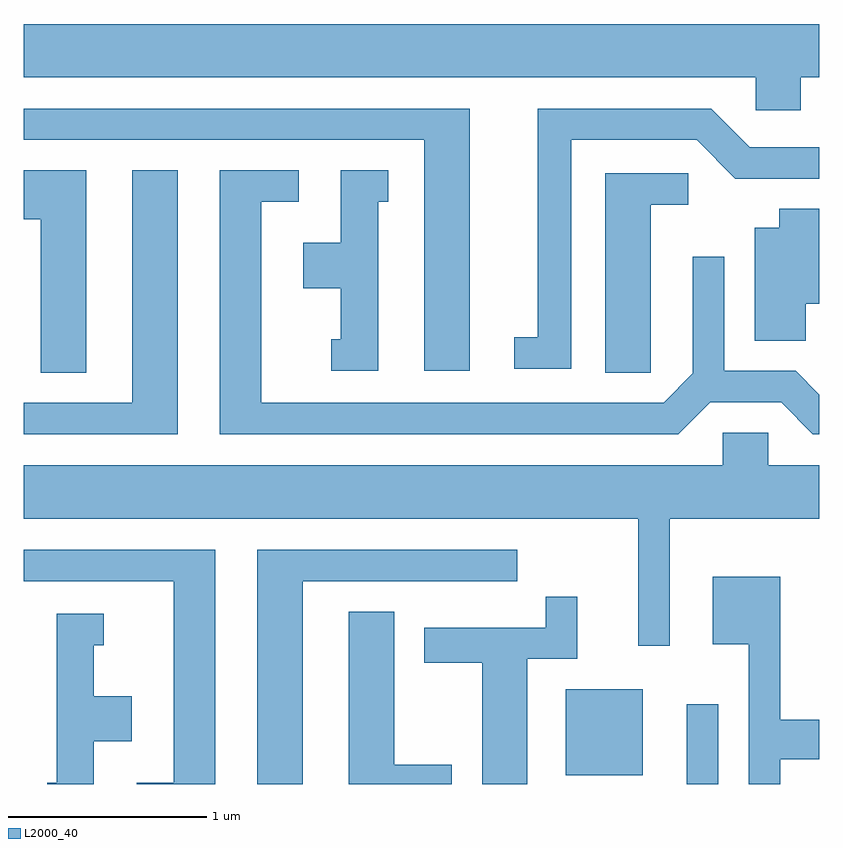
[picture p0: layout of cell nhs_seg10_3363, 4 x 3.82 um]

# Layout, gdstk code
import gdstk
lib = gdstk.Library(unit=1e-6, precision=1e-09)
def R(c, l, rs):  # rectangles x0, y0, x1, y1
    for r in rs: c.add(gdstk.rectangle(r[:2], r[2:], *l))
def P(c, l, *ps):  # polygons
    for p in ps: c.add(gdstk.Polygon(p, *l))
L2000_40 = (2000, 40)

nhs_seg10_3363 = lib.new_cell('nhs_seg10_3363')
R(nhs_seg10_3363, L2000_40, [(286.946,2172.522,287.104,2172.923), (286.336,2172.566,286.724,2172.999)])
P(nhs_seg10_3363, L2000_40, [(287.519,2176.076),(287.611,2176.076),(287.611,2176.344),(283.611,2176.344),(283.611,2176.076),(287.291,2176.076),(287.291,2175.911),(287.519,2175.911)],
  [(286.364,2175.761),(286.994,2175.761),(287.189,2175.566),(287.611,2175.566),(287.611,2175.724),(287.262,2175.724),(287.067,2175.919),(286.196,2175.919),(286.196,2174.769),(286.078,2174.769),(286.078,2174.611),(286.364,2174.611)],
  [(285.854,2175.919),(283.611,2175.919),(283.611,2175.761),(285.626,2175.761),(285.626,2174.601),(285.854,2174.601)],
  [(284.384,2175.609),(284.156,2175.609),(284.156,2174.439),(283.611,2174.439),(283.611,2174.281),(284.384,2174.281)],
  [(287.062,2174.441),(287.419,2174.441),(287.579,2174.281),(287.611,2174.281),(287.611,2174.48),(287.492,2174.599),(287.134,2174.599),(287.134,2175.173),(286.976,2175.173),(286.976,2174.587),(286.829,2174.439),(284.804,2174.439),(284.804,2175.451),(284.993,2175.451),(284.993,2175.609),(284.596,2175.609),(284.596,2174.281),(286.902,2174.281)],
  [(285.394,2175.451),(285.443,2175.451),(285.443,2175.609),(285.206,2175.609),(285.206,2175.244),(285.016,2175.244),(285.016,2175.016),(285.206,2175.016),(285.206,2174.759),(285.158,2174.759),(285.158,2174.601),(285.394,2174.601)],
  [(283.924,2175.609),(283.611,2175.609),(283.611,2175.361),(283.696,2175.361),(283.696,2174.591),(283.924,2174.591)],
  [(286.764,2175.436),(286.953,2175.436),(286.953,2175.594),(286.536,2175.594),(286.536,2174.591),(286.764,2174.591)],
  [(287.544,2174.936),(287.611,2174.936),(287.611,2175.414),(287.411,2175.414),(287.411,2175.319),(287.286,2175.319),(287.286,2174.751),(287.544,2174.751)],
  [(286.859,2173.856),(287.611,2173.856),(287.611,2174.124),(287.354,2174.124),(287.354,2174.289),(287.126,2174.289),(287.126,2174.124),(283.611,2174.124),(283.611,2173.856),(286.701,2173.856),(286.701,2173.218),(286.859,2173.218)],
  [(285.014,2173.541),(286.093,2173.541),(286.093,2173.699),(284.786,2173.699),(284.786,2172.522),(285.014,2172.522)],
  [(284.574,2173.699),(283.611,2173.699),(283.611,2173.541),(284.366,2173.541),(284.366,2172.529),(284.178,2172.529),(284.178,2172.522),(284.574,2172.522)],
  [(287.414,2172.646),(287.611,2172.646),(287.611,2172.844),(287.414,2172.844),(287.414,2173.564),(287.076,2173.564),(287.076,2173.226),(287.256,2173.226),(287.256,2172.522),(287.414,2172.522)],
  [(286.144,2173.151),(286.394,2173.151),(286.394,2173.463),(286.236,2173.463),(286.236,2173.309),(285.626,2173.309),(285.626,2173.131),(285.916,2173.131),(285.916,2172.522),(286.144,2172.522)],
  [(285.764,2172.619),(285.474,2172.619),(285.474,2173.389),(285.246,2173.389),(285.246,2172.522),(285.764,2172.522)],
  [(283.964,2172.736),(284.154,2172.736),(284.154,2172.964),(283.964,2172.964),(283.964,2173.221),(284.013,2173.221),(284.013,2173.379),(283.776,2173.379),(283.776,2172.529),(283.728,2172.529),(283.728,2172.522),(283.964,2172.522)])

lib.write_gds('nhs_seg10_3363.gds')
